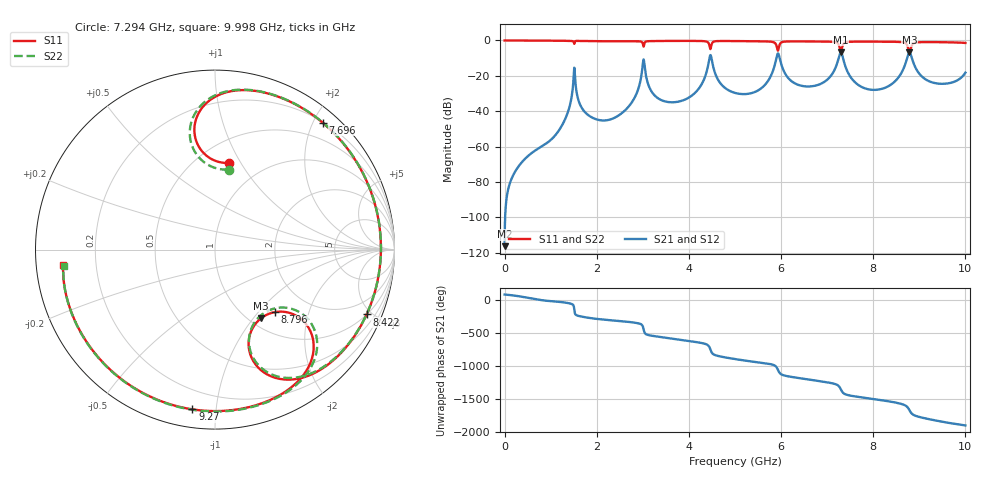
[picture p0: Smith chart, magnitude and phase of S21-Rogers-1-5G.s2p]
! TOUCHSTONE file generated by CST MICROWAVE STUDIO
! Date and time: Sun Jun 29 13:19:35 2025
! Project name: ResonadorAnillo.cst
! Parameters = {Eeff=2.85062; Er=3.66; H=1.524; L1=29.6142; L2=29.6142; Landa=118.457; T=0.017; W=3.30928; Wa=3.30928; X=81.9908; Y=81.9908; c=3e+11; f=1.5e+09; r=18.853; s=0.3}
! Header version: 2024
! Port assignment regex: !\s*Touchstone port\s*([0-9]+)\s*=\s*(CST MWS port|CST DES external port|CST DES block port)\s*(.+)\s* \(\"(.*)\"\)(\s*mode\s*([0-9]+))?.*
! Touchstone port assignment:
! Touchstone port 1 = CST MWS port 1 ("")
! Touchstone port 2 = CST MWS port 2 ("")
# GHz S DB R 50
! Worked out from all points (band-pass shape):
!   5000 points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, 2 MHz to 10 GHz, reference 50 ohm
!   highest |S21| = -6.54 dB at 7.298 GHz (marker M1); lowest = -116.3 dB at 2 MHz (marker M2)
!   |S21| within 3 dB of the highest: 7.254 GHz to 7.34 GHz (85.55 MHz wide, 1.17 % of centre); 8.741 GHz to 8.834 GHz (92.94 MHz wide, 1.06 % of centre)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
!   lowest |S11| = -6.7 dB at 8.786 GHz (marker M3), VSWR 2.71, Z = 56.6 - j54.8 ohm
!   |S11| at or under -10 dB: nowhere
!   |S22| runs from -7.0 to 0.0 dB; largest |S21 - S12| = 3.2e-12
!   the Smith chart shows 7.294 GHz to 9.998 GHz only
!   S11 on the Smith chart (normalised r, x): 7.294 GHz: 0.70, +0.90; 7.696 GHz: 0.21, +2.14; 8.422 GHz: 1.01, -4.67; 8.796 GHz: 1.36, -1.23; 9.27 GHz: 0.09, -0.86; 9.998 GHz: 0.08, -0.05
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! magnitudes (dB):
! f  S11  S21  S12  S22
! 2 MHz  0.0  -116.3  -116.3  0.0
! 1.166 GHz  -0.1  -51.4  -51.4  -0.1
! 1.51 GHz  -1.7  -16.2  -16.2  -1.7
! 1.67 GHz  -0.3  -37.8  -37.8  -0.3
! 2.468 GHz  -0.5  -42.5  -42.5  -0.5
! 3.018 GHz  -3.4  -10.7  -10.7  -3.6
! 3.336 GHz  -0.3  -32.8  -32.8  -0.3
! 4.06 GHz  -0.2  -31.3  -31.3  -0.2
! 4.468 GHz  -4.9  -8.3  -8.3  -4.5
! 5.002 GHz  -0.3  -29.7  -29.7  -0.4
! 5.934 GHz  -5.7  -7.3  -7.3  -5.5
! 6.668 GHz  -0.6  -25.9  -25.9  -0.6
! 7.294 GHz  -6.2  -6.6  -6.6  -6.9
! 7.298 GHz  -6.3  -6.5  -6.5  -7.0
! 7.696 GHz  -0.7  -25.5  -25.5  -0.6
! 8.334 GHz  -0.7  -25.8  -25.8  -0.7
! 8.422 GHz  -0.7  -24.3  -24.3  -0.7
! 8.786 GHz  -6.7  -6.8  -6.8  -7.0
! 8.796 GHz  -6.3  -7.0  -7.0  -6.5
! 9.27 GHz  -0.9  -23.6  -23.6  -0.9
! 9.998 GHz  -1.4  -18.3  -18.3  -1.4
! 10 GHz  -1.4  -18.2  -18.2  -1.4
